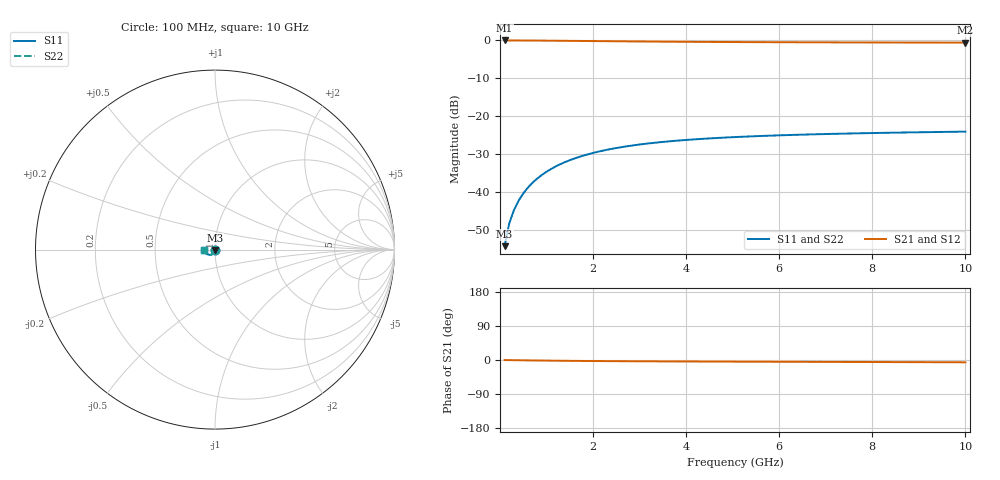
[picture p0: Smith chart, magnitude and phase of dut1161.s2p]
! Touchstone file exported from HFSS 2024.1.0
!  File:  C:/UserFiles/LocalFiles/RDL_TSV_Batchsim/temp_TSV1_1161_1780072890.aedt
!  Generated:  12:46:55 AM May 30, 2026
!  Design:  TSV1
!  Project:  temp_TSV1_1161_1780072890
!  Setup:  Setup1
!  Solution:  Sweep
! Variables:
!  dtsv = 13.44um
!  hbump = 3um
!  htsv = 94.29um
!  lrdl = 252.1521522um
!  p = 40
!  p1 = 57.14um
!  t = 500um
!  trdl = 3um
!  wrdl = 24.89489489um
# GHz S MA R 50.000000
! Terminal data exported
! Port[1] = TSV22_T1
! Port[2] = TSV22_T2
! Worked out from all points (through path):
!   100 points, 100 MHz to 10 GHz, reference 50 ohm
!   highest |S21| = 0.00 dB at 100 MHz (marker M1); lowest = -0.6 dB at 10 GHz (marker M2)
!   lowest |S11| = -54.3 dB at 100 MHz (marker M3), VSWR 1.00, Z = 50 - j0.192 ohm
!   |S11| at or under -10 dB: start of sweep to end of sweep
!   |S22| runs from -54.3 to -24.1 dB; largest |S21 - S12| = 3.5e-15
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0.1  0.001924 -89.1  0.9998 -0.2  0.9998 -0.2  0.001924 -89.1
! Gamma 0 0 0 0
! Port Impedance 50 0 50 0
0.2  0.003844 -92.3  0.9996 -0.3  0.9996 -0.3  0.003844 -92.3
0.3  0.005759 -94.6  0.9993 -0.5  0.9993 -0.5  0.005759 -94.6
0.4  0.007663 -96.8  0.9988 -0.7  0.9988 -0.7  0.007663 -96.8
0.5  0.009546 -98.8  0.9982 -0.8  0.9982 -0.8  0.009546 -98.8
0.6  0.0114 -100.8  0.9976 -1.0  0.9976 -1.0  0.0114 -100.8
0.7  0.01323 -102.8  0.9968 -1.1  0.9968 -1.1  0.01323 -102.8
0.8  0.01501 -104.7  0.9959 -1.3  0.9959 -1.3  0.01501 -104.7
0.9  0.01676 -106.6  0.995 -1.4  0.995 -1.4  0.01676 -106.6
1.1  0.02012 -110.2  0.9929 -1.7  0.9929 -1.7  0.02012 -110.2
1.4  0.02478 -115.3  0.9893 -2.1  0.9893 -2.1  0.02478 -115.3
1.6  0.02764 -118.6  0.9868 -2.3  0.9868 -2.3  0.02764 -118.6
1.8  0.03028 -121.6  0.9842 -2.5  0.9842 -2.5  0.03028 -121.6
2.1  0.03387 -125.9  0.9803 -2.8  0.9803 -2.8  0.03387 -125.9
2.5  0.03801 -131.1  0.9753 -3.1  0.9753 -3.1  0.03801 -131.1
2.9  0.0415 -135.7  0.9706 -3.4  0.9706 -3.4  0.0415 -135.7
3.4  0.0451 -140.8  0.9654 -3.6  0.9654 -3.6  0.0451 -140.8
4.2  0.04954 -147.6  0.9585 -4.0  0.9585 -4.0  0.04954 -147.6
5.1  0.05318 -154.0  0.9524 -4.3  0.9524 -4.3  0.05318 -154.0
6.7  0.05754 -162.8  0.9449 -4.9  0.9449 -4.9  0.05754 -162.8
8.4  0.06053 -170.2  0.9398 -5.5  0.9398 -5.5  0.06053 -170.2
10  0.06254 -175.8  0.9365 -6.0  0.9365 -6.0  0.06254 -175.8
